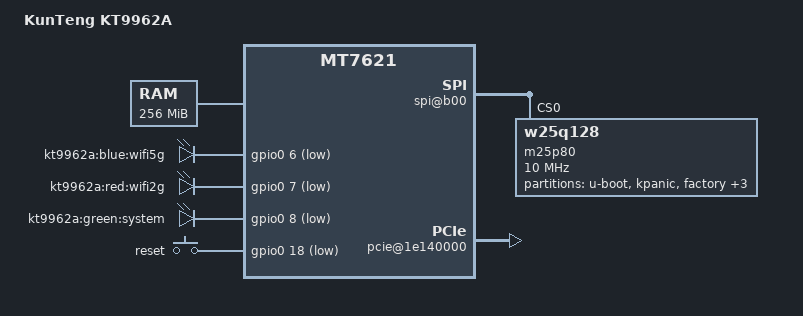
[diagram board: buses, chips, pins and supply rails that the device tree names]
/dts-v1/;

/include/ "mt7621.dtsi"

/ {
	compatible = "mediatek,mt7621-eval-board", "mediatek,mt7621-soc";
	model = "KunTeng KT9962A";

	memory@0 {
		device_type = "memory";
		reg = <0x0 0x10000000>;
	};

	chosen {
		bootargs = "console=ttyS0,115200";
	};
	
    palmbus@1E000000 {
		spi@b00 {
			status = "okay";

			m25p80@0 {
				#address-cells = <1>;
				#size-cells = <1>;
				compatible = "w25q128";
				reg = <0 0>;
				linux,modalias = "m25p80", "w25q128";
				spi-max-frequency = <10000000>;

				partition@0 {
				label = "u-boot";
				 reg = <0x0 0x30000>;
				read-only;
				};

				partition@30000 {
				label = "kpanic";
				reg = <0x30000 0x10000>;
				};

				factory: partition@40000 {
				label = "factory";
				reg = <0x40000 0x10000>;
				//read-only;
				};

				partition@50000 {
				label = "firmware";
				reg = <0x50000 0xfe0000>;
				};

				bdinfo: partition@fe0000 {
				label = "bdinfo";
				reg = <0xfe0000 0x10000>;
				};

				partition@ff0000 {
				label = "reserve";
				reg = <0xff0000 0x10000>;
				};	
			};
		};
	};

	pcie@1e140000 {
		status = "okay";

		pcie0 {
			mt76@0,0 {
				reg = <0x0000 0 0 0 0>;
				device_type = "pci";
				mediatek,mtd-eeprom = <&factory 0x8000>;
				mediatek,2ghz = <0>;
			};
		};

		pcie1 {
			mt76@1,0 {
				reg = <0x0000 0 0 0 0>;
				device_type = "pci";
				mediatek,mtd-eeprom = <&factory 0x0000>;
				mediatek,5ghz = <0>;
			};
		};
	};

	ethernet@1e100000 {
		mtd-mac-address = <&factory 0xe006>;
	};	

	gpio-leds {
		compatible = "gpio-leds";		
		
		wifi5g {
			label = "kt9962a:blue:wifi5g";
			gpios = <&gpio0 6 1>;
		};		
		
		wifi2g {
			label = "kt9962a:red:wifi2g";
			gpios = <&gpio0 7 1>;
		};

		system {
			label = "kt9962a:green:system";
			gpios = <&gpio0 8 1>;
		};
	};

	gpio-keys-polled {
		compatible = "gpio-keys-polled";
		#address-cells = <1>;
		#size-cells = <0>;
		poll-interval = <20>;

		reset {
			label = "reset";
			gpios = <&gpio0 18 1>;
			linux,code = <0x198>;
		};
	};

	pinctrl {
		state_default: pinctrl0 {
			gpio {
				ralink,group = "uart3", "jtag";
				ralink,function = "gpio";
			};
		};
	};
};
